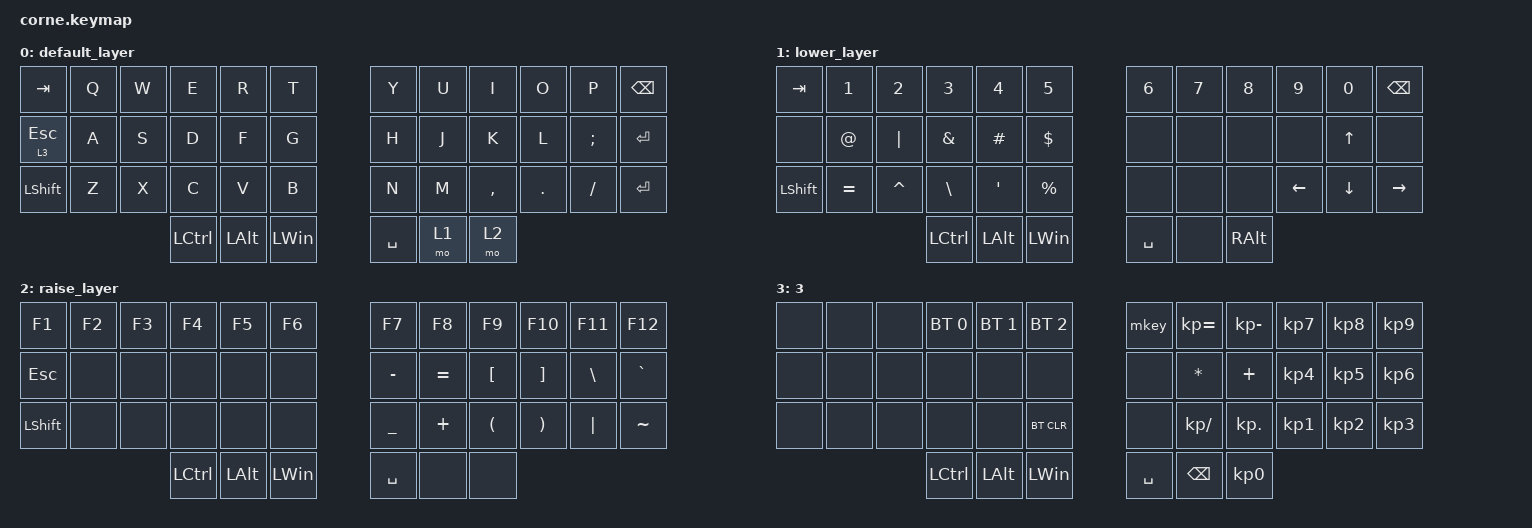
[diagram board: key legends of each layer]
/*
 * Copyright (c) 2020 The ZMK Contributors
 *
 * SPDX-License-Identifier: MIT
 */

#include <behaviors.dtsi>
#include <dt-bindings/zmk/keys.h>
#include <dt-bindings/zmk/bt.h>

/ {
        macros {
                mkey: mkey {
                        compatible = "zmk,behavior-macro";
                        #binding-cells = <0>;
                        bindings 
                        = <&kp LS(I) &kp M &kp P &kp O &kp S &kp I &kp B &kp L &kp E &kp KP_N2 &kp Y &kp A &kp L &kp O &kp I &kp N &kp T &kp E &kp N &kp T &kp A &kp S &kp T &kp KP_N3>
                        ;
                };
        };
        keymap {
                compatible = "zmk,keymap";

                default_layer {
                        bindings = <
// --------------------------------------------------------------------------------------------------------------
// |   TAB   |   Q   |   W   |   E   |   R   |   T   |       |   Y   |   U   |   I   |   O   |   P   |   BKSP   |
     &kp TAB   &kp Q   &kp W   &kp E   &kp R   &kp T           &kp Y   &kp U   &kp I   &kp O   &kp P    &kp BSPC
// | Ly3 ESC |   A   |   S   |   D   |   F   |   G   |       |   H   |   J   |   K   |   L   |  ; :  |   RET    |
    &lt 3 ESC  &kp A   &kp S   &kp D   &kp F   &kp G            &kp H  &kp J    &kp K  &kp L  &kp SEMI  &kp RET
// | SHFT    |   Z   |   X   |   C   |   V   |   B   |       |  N    |  M    |  , <  |  . >  |  / ?  |   ENTER  |
    &kp LSHFT  &kp Z   &kp X    &kp C   &kp V  &kp B           &kp N   &kp M  &kp COMMA &kp DOT &kp FSLH &kp ENTER
//                      | LCTRL | LALT | LWIN |              | SPACE | Layer1  | Layer2 |
                        &kp LCTRL &kp LALT &kp LWIN          &kp SPACE &mo 1 &mo 2
                        >;
                };
                lower_layer {
// -----------------------------------------------------------------------------------------
// |  TAB |  1  |  2  |  3  |  4  |  5  |   |  6  |  7  |  8  |  9  |  0   | BKSP |
// |      | @   | |   | &   | #   | $   |   |     |     |     |     |  UP  |      |
// | SHFT | = + |  ^  | \   | ' " | %   |   |     |     |     | LFT | DWN  | RGT  |
//                | LCTRL | LALT | LWIN |   | ENT |     | ALT |
                        bindings = <
   &kp TAB    &kp N1    &kp N2     &kp N3    &kp N4   &kp N5            &kp N6 &kp N7 &kp N8 &kp N9    &kp N0   &kp BSPC
   &none      &kp AT    &kp PIPE   &kp AMPS  &kp HASH &kp DLLR          &none  &none  &none  &none     &kp UP   &none 
   &kp LSHFT  &kp EQUAL &kp CARET  &kp BSLH  &kp SQT  &kp PRCNT         &none  &none  &none  &kp LEFT  &kp DOWN &kp RIGHT
                                 &kp LCTRL  &kp LALT  &kp LWIN           &kp SPACE  &none    &kp RALT
                        >;
                };

                raise_layer {
// -----------------------------------------------------------------------------------------
// |  F1   |  F2 |  F3 |  F4 |  F5 |  F6 |   |  F7  |  F8  |  F9  |  F10  |  F11  | F12  |
// | ESC   |     |     |     |     |     |   |  - _ | + =  | [ {  |  }]   |  \ |  |  ` ~ |
// | LSHFT |     |     |     |     |     |   |  _   |  +   |  (   |  )    |  "|"  |  ~   |
//                | LCTRL |  LALT | LWIN |   | SPACE |     |     |
                        bindings = <
   &kp  F1   &kp F2 &kp F3 &kp F4 &kp F5 &kp F6      &kp F7    &kp F8    &kp F9    &kp F10  &kp F11  &kp F12
   &kp ESC   &none  &none  &none  &none  &none       &kp MINUS &kp EQUAL &kp LBKT  &kp RBKT &kp BSLH &kp GRAVE
   &kp LSHFT &none  &none  &none  &none  &none       &kp UNDER &kp PLUS  &kp LPAR  &kp RPAR &kp PIPE &kp TILDE
                     &kp LCTRL &kp LALT &kp LWIN      &kp SPACE   &none     &none 
                        >;
                };

                3 {
// -----------------------------------------------------------------------------------------
// |       |     |     |     | BT0 | BT1 | BT2 |     |  = | -  | 7 |  8  | 9  |
// |       |     |     |     |     |     |     |     | *  | +  | 4 |  5  | 6  |
// |       |     |     |     |     |     | BTC |     |  / | .  | 1 |  2  | 3  |
//                 | LCTRL |  LALT   | LWIN |          | SPACE| RET  | 0 |
                        bindings = <
   &none    &none  &none  &bt BT_SEL 0 &bt BT_SEL 1 &bt BT_SEL 2      &mkey  &kp KP_EQUAL  &kp KP_MINUS &kp  KP_N7 &kp  KP_N8 &kp  KP_N9
   &none    &none  &none  &none        &none        &none             &none  &kp STAR      &kp PLUS     &kp  KP_N4 &kp  KP_N5 &kp  KP_N6
   &none    &none  &none  &none        &none        &bt BT_CLR        &none  &kp KP_DIVIDE &kp KP_DOT   &kp  KP_N1 &kp  KP_N2 &kp  KP_N3
                                &kp LCTRL &kp LALT &kp LWIN            &kp SPACE   &kp BKSP    &kp KP_N0
                        >;
                };
        };        
};
